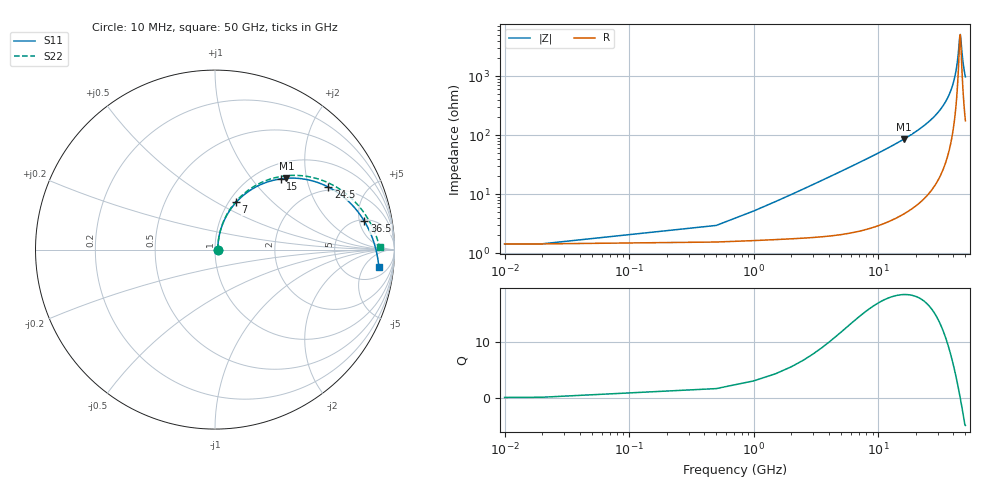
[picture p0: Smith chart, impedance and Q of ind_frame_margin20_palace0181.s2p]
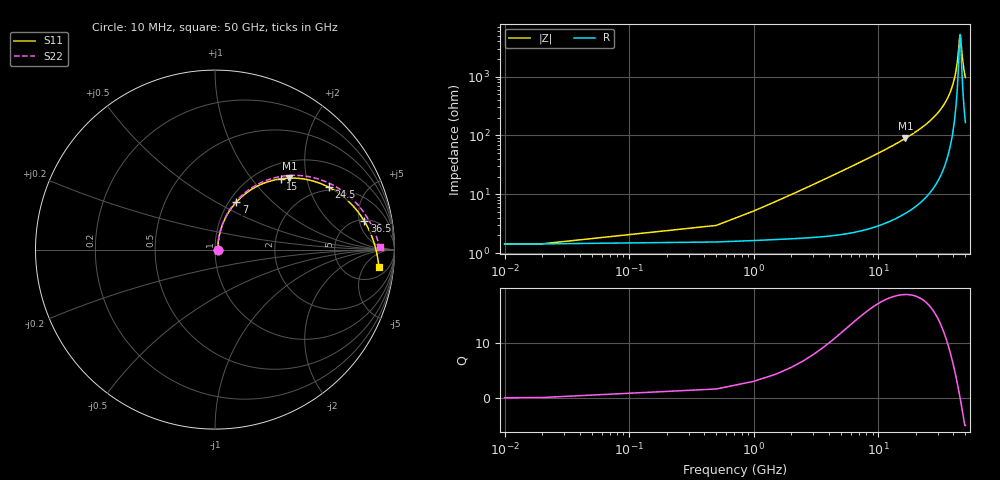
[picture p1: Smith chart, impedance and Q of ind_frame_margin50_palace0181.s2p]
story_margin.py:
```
#!/usr/bin/env python
"""Spiral inductor (ind_frame, 1 um mesh): 20, 50 and 100 um margin to the absorbing boundary, each solved with
Palace 0.19.0 and with Palace 0.18.1 (before its fix of the second-order absorbing boundary).

Reads results/snp/ and writes results/plots/story_margin.png:
  left:  Q vs. frequency, one color per margin, solid = Palace 0.19, dashed = Palace 0.18.1
  right: peak Q vs. margin for both Palace versions
and prints the numbers quoted in README.md.

Inductor figures of merit, ports 1/2 as one differential pair:
  Zdiff = Z11 - Z12 - Z21 + Z22,  L = Im(Zdiff)/w,  Q = Im(Zdiff)/Re(Zdiff),  R = Re(Zdiff)
"""
import os
import numpy as np
import skrf as rf
import matplotlib
matplotlib.use("Agg")
import matplotlib.pyplot as plt

HERE = os.path.dirname(os.path.abspath(__file__))
SNP_DIR = os.path.join(HERE, "snp")
PLOT_DIR = os.path.join(HERE, "plots")
L_FREQ = 10e9

INK, INK2, GRID = "#0b0b0b", "#52514e", "#e4e3de"
BLUE, ORANGE = "#2a78d6", "#eb6834"

# margin in um, Palace 0.19 file, Palace 0.18.1 file, color (ordinal ramp, light = close boundary)
RUNS = [
    (20, "ind_frame_margin20.s2p", "ind_frame_margin20_palace0181.s2p", "#86b6ef"),
    (50, "ind_frame_margin50.s2p", "ind_frame_margin50_palace0181.s2p", "#2a78d6"),
    (100, "ind_frame_margin100.s2p", "ind_frame_margin100_palace0181.s2p", "#0d366b"),
]


def load(fname):
    return rf.Network(os.path.join(SNP_DIR, fname))


def lqr(ntw):
    z = ntw.z
    zd = z[:, 0, 0] - z[:, 0, 1] - z[:, 1, 0] + z[:, 1, 1]
    w = 2 * np.pi * ntw.f
    return {"L": zd.imag / w * 1e9, "Q": zd.imag / zd.real, "R": zd.real}


def style(ax):
    ax.grid(True, color=GRID, linewidth=0.8)
    ax.set_axisbelow(True)
    for side in ("top", "right"):
        ax.spines[side].set_visible(False)
    for side in ("left", "bottom"):
        ax.spines[side].set_color(INK2)
    ax.tick_params(colors=INK2, labelsize=9)


def plot_margin():
    fig, axes = plt.subplots(1, 2, figsize=(10, 3.9))
    peaks = {"0.19": [], "0.18.1": []}
    for margin, f19, f181, color in RUNS:
        for fname, version, ls in ((f19, "0.19", "-"), (f181, "0.18.1", "--")):
            ntw = load(fname)
            q = lqr(ntw)["Q"]
            axes[0].plot(ntw.f / 1e9, q, color=color, linewidth=2, linestyle=ls,
                         label=f"{margin} µm, Palace {version}")
            peaks[version].append(q.max())
    margins = [r[0] for r in RUNS]
    axes[1].plot(margins, peaks["0.19"], color=BLUE, marker="o", markersize=8, linewidth=2, label="Palace 0.19")
    axes[1].plot(margins, peaks["0.18.1"], color=ORANGE, marker="s", markersize=8, linewidth=2, linestyle="--",
                 label="Palace 0.18.1")
    for ax in axes:
        style(ax)
    axes[0].set_title("Differential Q factor", loc="left", fontsize=11, color=INK)
    axes[0].set_xlabel("Frequency (GHz)", color=INK2)
    axes[0].set_xlim(10, 45)
    axes[0].set_ylim(15, 24)
    axes[1].set_title("Peak Q vs. margin", loc="left", fontsize=11, color=INK)
    axes[1].set_xlabel("Margin = air around (µm)", color=INK2)
    axes[1].set_xticks(margins)
    axes[1].legend(frameon=False, fontsize=9)
    handles, labels = axes[0].get_legend_handles_labels()
    fig.legend(handles, labels, loc="upper center", ncol=3, frameon=False, fontsize=9)
    fig.tight_layout(rect=(0, 0, 1, 0.84))
    out = os.path.join(PLOT_DIR, "story_margin.png")
    fig.savefig(out, dpi=130, facecolor="white")
    plt.close(fig)
    print("wrote", out)


def print_numbers():
    ref_ntw = load(RUNS[-1][1])
    ref = lqr(ref_ntw)
    ref_q, ref_l = ref["Q"].max(), np.interp(L_FREQ, ref_ntw.f, ref["L"])
    print(f"\n{'margin':>6s} {'Palace':>7s} {'L@10GHz':>8s} {'dL':>6s} {'R@10GHz':>8s} {'Qpeak':>6s} {'@GHz':>5s} {'dQ':>6s}"
          "   (d = vs. 100 um, Palace 0.19)")
    for margin, f19, f181, _ in RUNS:
        for fname, version in ((f19, "0.19"), (f181, "0.18.1")):
            ntw = load(fname)
            m = lqr(ntw)
            l10 = np.interp(L_FREQ, ntw.f, m["L"])
            print(f"{margin:6d} {version:>7s} {l10:8.4f} {(l10 / ref_l - 1) * 100:+5.2f}% "
                  f"{np.interp(L_FREQ, ntw.f, m['R']):8.3f} {m['Q'].max():6.2f} {ntw.f[m['Q'].argmax()] / 1e9:5.1f} "
                  f"{(m['Q'].max() / ref_q - 1) * 100:+5.1f}%")


if __name__ == "__main__":
    os.makedirs(PLOT_DIR, exist_ok=True)
    plot_margin()
    print_numbers()
```
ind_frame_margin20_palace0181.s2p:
! Created with skrf 2.2.0 (http://scikit-rf.org).
# GHz S DB R 50.0
! Port[1] = P1
! Port[2] = P2
!freq dBS11 angS11 dBS21 angS21 dBS12 angS12 dBS22 angS22
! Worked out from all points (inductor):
!   102 points, 10 MHz to 50 GHz, reference 50 ohm
!   read as 1/Y11, port 2 shorted: L = 777 pH near 1 GHz
!   highest Q = 18.5 at 16 GHz (marker M1), where L = 852 pH
!   self-resonance near 45 GHz
!   S11 on the Smith chart (normalised r, x): 10 MHz: 1.03, +0.00; 7 GHz: 1.08, +0.62; 15 GHz: 1.28, +1.41; 24.5 GHz: 1.87, +2.71; 36.5 GHz: 5.29, +5.94; 50 GHz: 9, -11
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0.01  -36.98 2.0  -0.12 -0.0  -0.12 -0.0  -36.98 2.0
1  -26.67 67.3  -0.15 -3.1  -0.15 -3.1  -26.66 67.4
2  -21.15 73.5  -0.19 -6.0  -0.19 -6.0  -21.15 73.6
4  -15.36 72.5  -0.31 -11.7  -0.31 -11.7  -15.37 73.0
7  -10.81 66.0  -0.59 -20.0  -0.59 -20.0  -10.81 66.7
15  -5.39 47.1  -1.80 -39.4  -1.80 -39.4  -5.40 48.9
16  -5.00 45.0  -1.98 -41.5  -1.98 -41.5  -5.01 46.9
24.5  -2.83 28.8  -3.65 -57.4  -3.65 -57.4  -2.84 31.8
25.5  -2.67 27.2  -3.85 -59.1  -3.85 -59.1  -2.68 30.3
36.5  -1.44 10.8  -6.15 -75.0  -6.15 -75.0  -1.45 15.5
50  -0.75 -6.0  -9.09 -90.9  -9.09 -90.9  -0.75 0.9
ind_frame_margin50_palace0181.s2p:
! Created with skrf 2.2.0 (http://scikit-rf.org).
# GHz S DB R 50.0
! Port[1] = P1
! Port[2] = P2
!freq dBS11 angS11 dBS21 angS21 dBS12 angS12 dBS22 angS22
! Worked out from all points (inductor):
!   102 points, 10 MHz to 50 GHz, reference 50 ohm
!   read as 1/Y11, port 2 shorted: L = 779 pH near 1 GHz
!   highest Q = 18.8 at 16.5 GHz (marker M1), where L = 861 pH
!   self-resonance near 45 GHz
!   S11 on the Smith chart (normalised r, x): 10 MHz: 1.03, +0.00; 7 GHz: 1.08, +0.62; 15 GHz: 1.28, +1.42; 24.5 GHz: 1.87, +2.72; 36.5 GHz: 5.33, +5.96; 50 GHz: 9, -11
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0.01  -36.98 2.0  -0.12 -0.0  -0.12 -0.0  -36.98 2.0
1  -26.65 67.3  -0.15 -3.1  -0.15 -3.1  -26.64 67.3
2  -21.13 73.4  -0.19 -6.0  -0.19 -6.0  -21.14 73.6
4  -15.35 72.5  -0.31 -11.7  -0.31 -11.7  -15.35 72.9
7  -10.79 65.9  -0.59 -20.0  -0.59 -20.0  -10.80 66.7
15  -5.38 47.1  -1.80 -39.5  -1.80 -39.5  -5.39 48.9
16.5  -4.81 43.9  -2.08 -42.7  -2.08 -42.7  -4.82 45.8
24.5  -2.83 28.8  -3.65 -57.6  -3.65 -57.6  -2.84 31.8
25.5  -2.66 27.1  -3.86 -59.2  -3.86 -59.2  -2.67 30.2
36.5  -1.44 10.7  -6.14 -75.1  -6.14 -75.1  -1.45 15.4
50  -0.74 -6.1  -9.07 -91.0  -9.07 -91.0  -0.75 0.8
